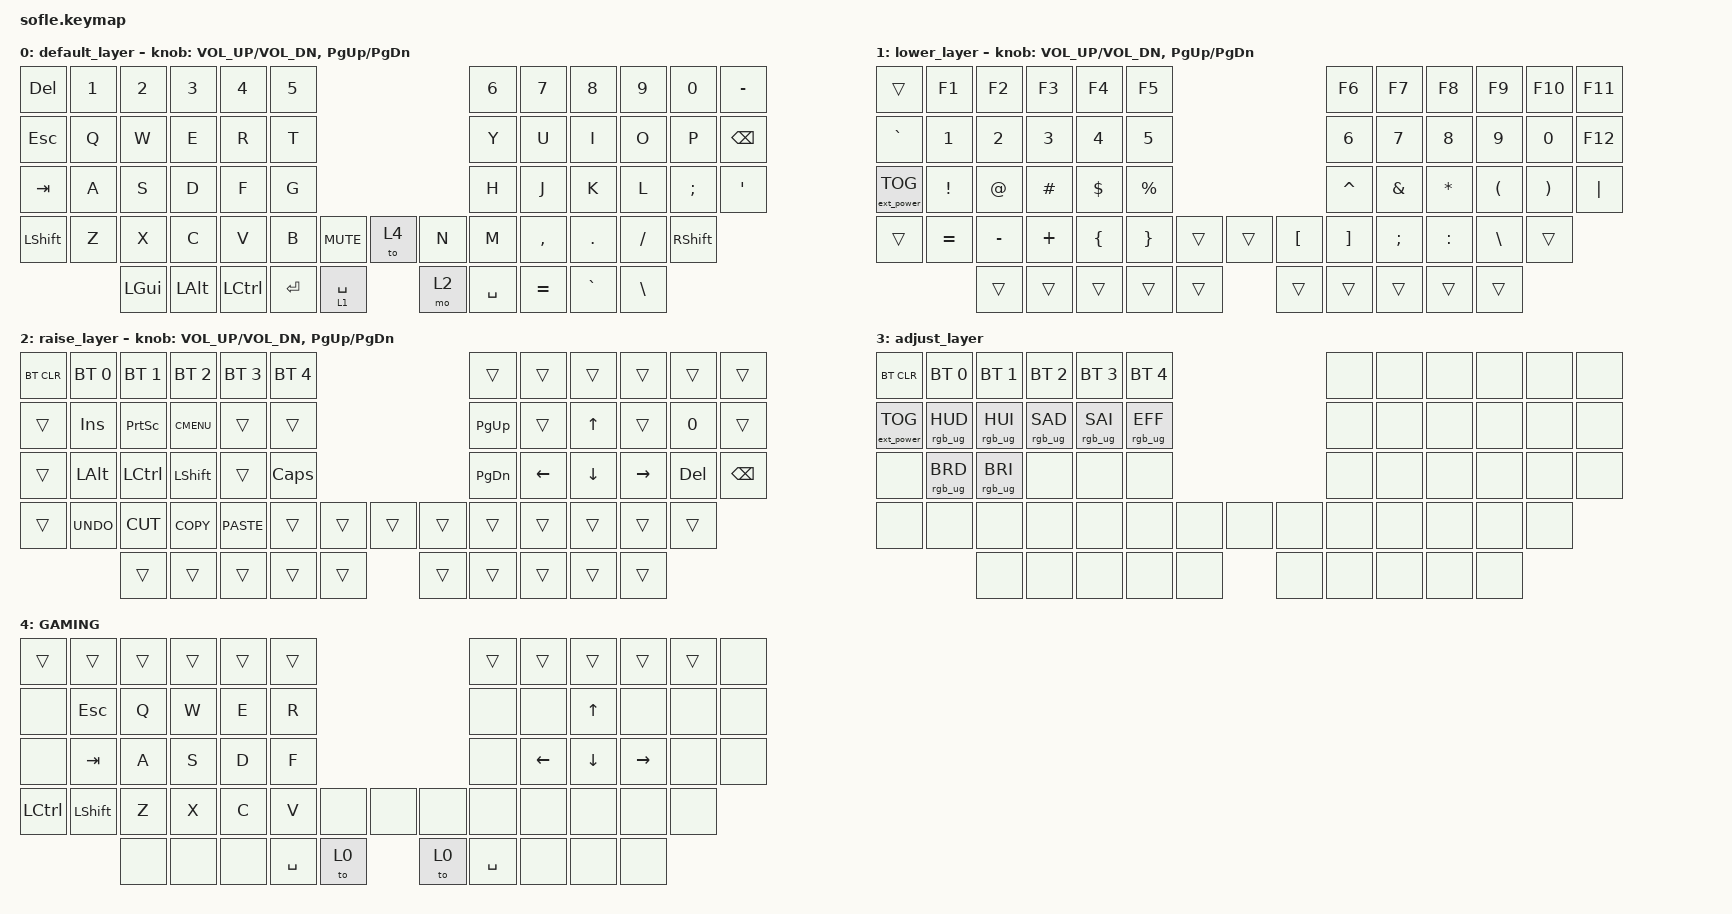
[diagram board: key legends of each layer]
/*
 * Copyright (c) 2020 The ZMK Contributors
 *
 * SPDX-License-Identifier: MIT
 */

#include <behaviors.dtsi>
#include <dt-bindings/zmk/bt.h>
#include <dt-bindings/zmk/ext_power.h>
#include <dt-bindings/zmk/keys.h>
#include <dt-bindings/zmk/rgb.h>

#define BASE 0
#define LOWER 1
#define RAISE 2
#define ADJUST 3
#define GAMING 4

/ {
    // Activate ADJUST layer by pressing raise and lower

    conditional_layers {
        compatible = "zmk,conditional-layers";

        adjust_layer {
            if-layers = <LOWER RAISE>;
            then-layer = <ADJUST>;
        };
    };

    keymap {
        compatible = "zmk,keymap";

        default_layer {
            // ------------------------------------------------------------------------------------------------------------
            // |  DEL  |  1  |  2  |  3   |  4   |  5   |                   |  6   |  7    |  8    |  9   |   0   |   -   |
            // |  ESC  |  Q  |  W  |  E   |  R   |  T   |                   |  Y   |  U    |  I    |  O   |   P   | BKSPC |
            // |  TAB  |  A  |  S  |  D   |  F   |  G   |                   |  H   |  J    |  K    |  L   |   ;   |   '   |
            // | SHIFT |  Z  |  X  |  C   |  V   |  B   |  MUTE  |  |  RGB  |  N   |  M    |  ,    |  .   |   /   | SHIFT |
            //               | GUI | ALT  | CTRL | ENTER|  LOWER |  | RAISE | SPACE|  =    |  `    |  \  |

            bindings = <
&kp DELETE  &kp N1  &kp N2    &kp N3    &kp N4     &kp N5                                    &kp N6     &kp N7     &kp N8     &kp N9         &kp N0    &kp MINUS
&kp ESC     &kp Q   &kp W     &kp E     &kp R      &kp T                                     &kp Y      &kp U      &kp I      &kp O          &kp P     &kp BSPC
&kp TAB     &kp A   &kp S     &kp D     &kp F      &kp G                                     &kp H      &kp J      &kp K      &kp L          &kp SEMI  &kp SQT
&kp LSHFT   &kp Z   &kp X     &kp C     &kp V      &kp B      &kp C_MUTE    &to 4  &kp N      &kp M      &kp COMMA  &kp DOT        &kp FSLH  &kp RSHFT
                    &kp LGUI  &kp LALT  &kp LCTRL  &kp ENTER  &lt 1 SPACE         &mo 2            &kp SPACE  &kp EQUAL  &kp GRAVE  &kp BACKSLASH
            >;

            sensor-bindings = <&inc_dec_kp C_VOL_UP C_VOL_DN &inc_dec_kp PG_UP PG_DN>;
        };

        lower_layer {
            // TODO: Some binds are waiting for shifted keycode support.
            // ------------------------------------------------------------------------------------------------------------
            // |       |  F1 |  F2 |  F3  |  F4  |  F5  |                   |  F6  |  F7   |  F8   |  F9  |  F10  |  F11  |
            // |   `   |  1  |  2  |  3   |  4   |  5   |                   |  6   |  7    |  8    |  9   |   0   |  F12  |
            // |       |  !  |  @  |  #   |  $   |  %   |                   |  ^   |  &    |  *    |  (   |   )   |   |   |
            // |       |  =  |  -  |  +   |  {   |  }   |        |  |       |  [   |  ]    |  ;    |  :   |   \   |       |
            //               |     |      |      |      |        |  |       |      |       |       |      |

            bindings = <
&trans             &kp F1     &kp F2     &kp F3    &kp F4    &kp F5                       &kp F6     &kp F7    &kp F8     &kp F9     &kp F10   &kp F11
&kp GRAVE          &kp N1     &kp N2     &kp N3    &kp N4    &kp N5                       &kp N6     &kp N7    &kp N8     &kp N9     &kp N0    &kp F12
&ext_power EP_TOG  &kp EXCL   &kp AT     &kp HASH  &kp DLLR  &kp PRCNT                    &kp CARET  &kp AMPS  &kp ASTRK  &kp LPAR   &kp RPAR  &kp PIPE
&trans             &kp EQUAL  &kp MINUS  &kp PLUS  &kp LBRC  &kp RBRC   &trans    &trans  &kp LBKT   &kp RBKT  &kp SEMI   &kp COLON  &kp BSLH  &trans
                              &trans     &trans    &trans    &trans     &trans    &trans  &trans     &trans    &trans     &trans
            >;

            sensor-bindings = <&inc_dec_kp C_VOL_UP C_VOL_DN &inc_dec_kp PG_UP PG_DN>;
        };

        raise_layer {
            // ------------------------------------------------------------------------------------------------------------
            // | BTCLR | BT1  | BT2  |  BT3  |  BT4  |  BT5 |                |      |      |       |      |       |       |
            // |       | INS  | PSCR | GUI   |       |      |                | PGUP |      |   ^   |      |       |       |
            // |       | ALT  | CTRL | SHIFT |       | CAPS |                | PGDN |   <- |   v   |  ->  |  DEL  | BKSPC |
            // |       | UNDO | CUT  | COPY  | PASTE |      |      |  |      |      |      |       |      |       |       |
            //                |      |       |       |      |      |  |      |      |      |       |      |

            bindings = <
&bt BT_CLR  &bt BT_SEL 0  &bt BT_SEL 1  &bt BT_SEL 2  &bt BT_SEL 3  &bt BT_SEL 4                    &trans     &trans    &trans    &trans     &trans   &trans
&trans      &kp INS       &kp PSCRN     &kp K_CMENU   &trans        &trans                          &kp PG_UP  &trans    &kp UP    &trans     &kp N0   &trans
&trans      &kp LALT      &kp LCTRL     &kp LSHFT     &trans        &kp CLCK                        &kp PG_DN  &kp LEFT  &kp DOWN  &kp RIGHT  &kp DEL  &kp BSPC
&trans      &kp K_UNDO    &kp K_CUT     &kp K_COPY    &kp K_PASTE   &trans        &trans    &trans  &trans     &trans    &trans    &trans     &trans   &trans
                          &trans        &trans        &trans        &trans        &trans    &trans  &trans     &trans    &trans    &trans
            >;

            sensor-bindings = <&inc_dec_kp C_VOL_UP C_VOL_DN &inc_dec_kp PG_UP PG_DN>;
        };

        adjust_layer {
            // ----------------------------------------------------------------------------------------------------------------------------
            // | BTCLR  |  BT1    |  BT2    |   BT3   |   BT4   |   BT5   |                  |      |      |       |      |       |       |
            // | EXTPWR | RGB_HUD | RGB_HUI | RGB_SAD | RGB_SAI | RGB_EFF |                  |      |      |       |      |       |       |
            // |        | RGB_BRD | RGB_BRI |         |         |         |                  |      |      |       |      |       |       |
            // |        |         |         |         |         |         | RGB_TOG | |      |      |      |       |      |       |       |
            //                    |         |         |         |         |         | |      |      |      |       |      |

            bindings = <
&bt BT_CLR         &bt BT_SEL 0     &bt BT_SEL 1     &bt BT_SEL 2     &bt BT_SEL 3     &bt BT_SEL 4                     &none  &none  &none  &none  &none  &none
&ext_power EP_TOG  &rgb_ug RGB_HUD  &rgb_ug RGB_HUI  &rgb_ug RGB_SAD  &rgb_ug RGB_SAI  &rgb_ug RGB_EFF                  &none  &none  &none  &none  &none  &none
&none              &rgb_ug RGB_BRD  &rgb_ug RGB_BRI  &none            &none            &none                            &none  &none  &none  &none  &none  &none
&none              &none            &none            &none            &none            &none            &none    &none  &none  &none  &none  &none  &none  &none
                                    &none            &none            &none            &none            &none    &none  &none  &none  &none  &none
            >;
        };

        GAMING {
            bindings = <
&trans     &trans          &trans  &trans  &trans  &trans                     &trans     &trans          &trans          &trans           &trans  &none
&none      &kp ESCAPE      &kp Q   &kp W   &kp E   &kp R                      &none      &none           &kp UP_ARROW    &none            &none   &none
&none      &kp TAB         &kp A   &kp S   &kp D   &kp F                      &none      &kp LEFT_ARROW  &kp DOWN_ARROW  &kp RIGHT_ARROW  &none   &none
&kp LCTRL  &kp LEFT_SHIFT  &kp Z   &kp X   &kp C   &kp V      &none    &none  &none      &none           &none           &none            &none   &none
                           &none   &none   &none   &kp SPACE  &to 0    &to 0  &kp SPACE  &none           &none           &none
            >;
        };

        extra2 { status = "reserved"; };

        extra3 { status = "reserved"; };

        extra4 { status = "reserved"; };
    };
};
